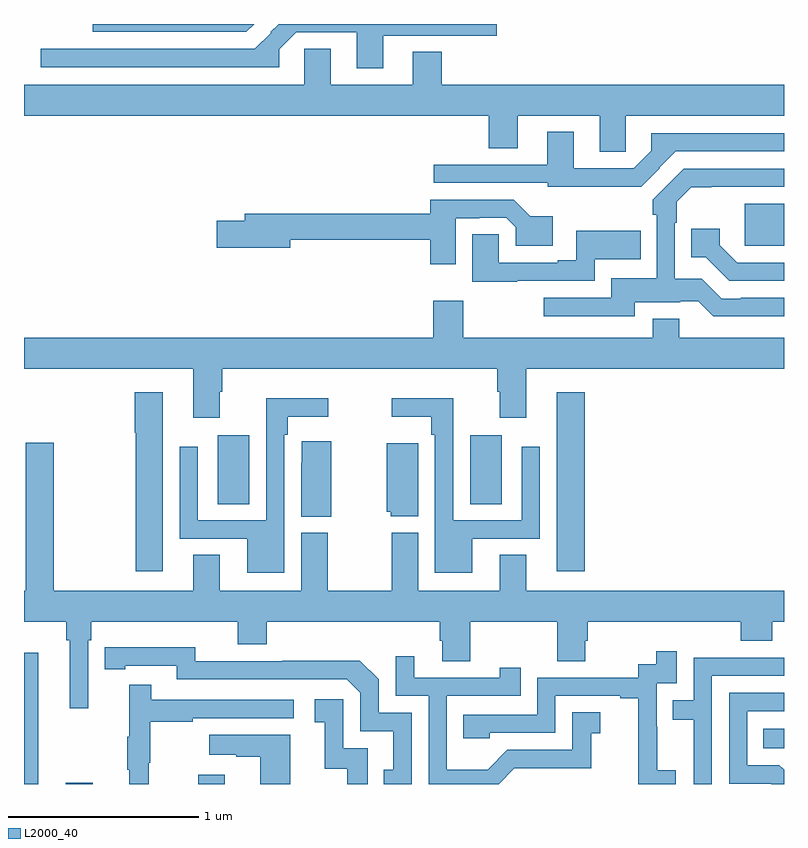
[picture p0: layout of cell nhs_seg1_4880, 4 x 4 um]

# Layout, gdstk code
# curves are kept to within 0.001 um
import gdstk
lib = gdstk.Library(unit=1e-6, precision=1e-09)
def R(c, l, rs):  # rectangles x0, y0, x1, y1
    for r in rs: c.add(gdstk.rectangle(r[:2], r[2:], *l))
def P(c, l, *ps):  # polygons
    for p in ps: c.add(gdstk.Polygon(p, *l))
L2000_40 = (2000, 40)

nhs_seg1_4880 = lib.new_cell('nhs_seg1_4880')
R(nhs_seg1_4880, L2000_40, [(375,564.199,375.076,564.889), (375.221,564.199,375.361,564.205), (375.917,564.199,376.057,564.247), (378.892,564.386,379,564.49), (377.804,565.32,377.951,566.26), (376.019,565.672,376.186,566.035), (377.348,565.672,377.515,566.035), (378.794,567.032,379,567.253)])
P(nhs_seg1_4880, L2000_40, [(376.212,568.199),(375.363,568.199),(375.363,568.158),(376.171,568.158)],
  [(376.891,568.137),(377.488,568.137),(377.488,568.199),(376.34,568.199),(376.297,568.156),(376.3,568.153),(376.215,568.068),(375.087,568.068),(375.087,567.972),(376.344,567.972),(376.344,568.065),(376.434,568.155),(376.751,568.155),(376.751,567.966),(376.891,567.966)],
  [(378.168,567.716),(379,567.716),(379,567.88),(377.198,567.88),(377.198,568.052),(377.045,568.052),(377.045,567.88),(376.615,567.88),(376.615,568.07),(376.476,568.07),(376.476,567.88),(375,567.88),(375,567.716),(377.447,567.716),(377.447,567.544),(377.599,567.544),(377.599,567.716),(378.029,567.716),(378.029,567.526),(378.168,567.526)],
  [(378.347,567.44),(378.344,567.443),(378.429,567.528),(379,567.528),(379,567.624),(378.301,567.624),(378.301,567.532),(378.21,567.441),(377.893,567.441),(377.893,567.631),(377.753,567.631),(377.753,567.459),(377.157,567.459),(377.157,567.363),(377.757,567.363),(377.757,567.343),(378.249,567.343)],
  [(379,566.757),(378.772,566.757),(378.772,566.754),(378.672,566.754),(378.567,566.859),(378.426,566.859),(378.426,567.152),(378.436,567.152),(378.436,567.264),(378.512,567.34),(378.616,567.34),(378.616,567.342),(379,567.342),(379,567.438),(378.473,567.438),(378.31,567.275),(378.31,567.194),(378.33,567.194),(378.33,566.86),(378.092,566.86),(378.092,566.757),(377.736,566.757),(377.736,566.661),(378.214,566.661),(378.214,566.735),(378.455,566.735),(378.455,566.739),(378.549,566.739),(378.628,566.66),(379,566.66)],
  [(377.272,567.177),(377.396,567.177),(377.396,567.18),(377.538,567.18),(377.589,567.129),(377.589,567.032),(377.782,567.032),(377.782,567.187),(377.664,567.187),(377.578,567.273),(377.138,567.273),(377.138,567.2),(376.163,567.2),(376.163,567.164),(376.014,567.164),(376.014,567.022),(376.402,567.022),(376.402,567.064),(377.138,567.064),(377.138,566.934),(377.272,566.934)],
  [(379,566.943),(378.753,566.943),(378.661,567.035),(378.661,567.121),(378.511,567.121),(378.511,566.972),(378.588,566.972),(378.713,566.847),(379,566.847)],
  [(377.596,566.847),(378.003,566.847),(378.003,566.96),(378.245,566.96),(378.245,567.112),(377.907,567.112),(377.907,566.956),(377.81,566.956),(377.81,566.943),(377.499,566.943),(377.499,567.092),(377.36,567.092),(377.36,566.842),(377.596,566.842)],
  [(376.03,566.264),(376.043,566.264),(376.043,566.384),(377.492,566.384),(377.492,566.264),(377.504,566.264),(377.504,566.127),(377.644,566.127),(377.644,566.384),(379,566.384),(379,566.548),(378.448,566.548),(378.448,566.647),(378.308,566.647),(378.308,566.548),(377.313,566.548),(377.313,566.743),(377.153,566.743),(377.153,566.548),(375,566.548),(375,566.384),(375.89,566.384),(375.89,566.127),(376.03,566.127)],
  [(375.73,566.26),(375.584,566.26),(375.584,566.047),(375.589,566.047),(375.589,565.32),(375.73,565.32)],
  [(376.371,566.036),(376.387,566.036),(376.387,566.132),(376.6,566.132),(376.6,566.23),(376.275,566.23),(376.275,565.587),(375.915,565.587),(375.915,565.975),(375.819,565.975),(375.819,565.491),(376.175,565.491),(376.175,565.31),(376.371,565.31)],
  [(377.359,565.491),(377.715,565.491),(377.715,565.975),(377.619,565.975),(377.619,565.587),(377.259,565.587),(377.259,566.23),(376.935,566.23),(376.935,566.132),(377.143,566.132),(377.143,566.036),(377.163,566.036),(377.163,565.31),(377.359,565.31)],
  [(376.617,566.002),(376.461,566.002),(376.461,565.889),(376.46,565.889),(376.46,565.606),(376.617,565.606)],
  [(375.339,564.956),(375.353,564.956),(375.353,565.052),(376.124,565.052),(376.124,564.935),(376.277,564.935),(376.277,565.052),(377.189,565.052),(377.189,564.954),(377.201,564.954),(377.201,564.844),(377.349,564.844),(377.349,565.052),(377.806,565.052),(377.806,564.844),(377.953,564.844),(377.953,564.954),(377.966,564.954),(377.966,565.052),(378.773,565.052),(378.773,564.953),(378.938,564.953),(378.938,565.052),(379,565.052),(379,565.216),(377.644,565.216),(377.644,565.406),(377.504,565.406),(377.504,565.216),(377.074,565.216),(377.074,565.522),(376.936,565.522),(376.936,565.216),(376.599,565.216),(376.599,565.521),(376.46,565.521),(376.46,565.216),(376.03,565.216),(376.03,565.406),(375.89,565.406),(375.89,565.216),(375.156,565.216),(375.156,565.995),(375.008,565.995),(375.008,565.216),(375,565.216),(375,565.052),(375.223,565.052),(375.223,564.956),(375.242,564.956),(375.242,564.597),(375.339,564.597)],
  [(377.074,565.993),(376.91,565.993),(376.91,565.632),(376.929,565.632),(376.929,565.607),(377.074,565.607)],
  [(377.04,564.573),(376.866,564.573),(376.866,564.75),(376.768,564.848),(376.36,564.848),(376.36,564.846),(375.9,564.846),(375.9,564.919),(375.424,564.918),(375.424,564.802),(375.532,564.802),(375.532,564.822),(375.804,564.822),(375.804,564.75),(376.698,564.75),(376.77,564.678),(376.77,564.477),(376.943,564.477),(376.943,564.273),(376.894,564.273),(376.894,564.199),(377.04,564.199)],
  [(378.43,564.271),(378.332,564.271),(378.332,564.5),(378.33,564.5),(378.33,564.729),(378.435,564.729),(378.435,564.898),(378.327,564.898),(378.327,564.828),(378.234,564.828),(378.234,564.759),(377.7,564.759),(377.7,564.564),(377.311,564.564),(377.311,564.441),(377.451,564.441),(377.451,564.468),(377.796,564.468),(377.796,564.663),(378.137,564.663),(378.137,564.651),(378.233,564.651),(378.233,564.367),(378.232,564.367),(378.232,564.199),(378.43,564.199)],
  [(377.581,564.282),(377.985,564.282),(377.985,564.467),(378.034,564.467),(378.034,564.577),(377.886,564.577),(377.886,564.378),(377.544,564.378),(377.44,564.274),(377.226,564.274),(377.226,564.663),(377.615,564.663),(377.615,564.811),(377.504,564.811),(377.504,564.759),(377.053,564.759),(377.053,564.871),(376.956,564.871),(376.956,564.663),(377.13,564.663),(377.13,564.199),(377.498,564.199)],
  [(378.621,564.768),(379,564.768),(379,564.864),(378.525,564.864),(378.525,564.639),(378.415,564.639),(378.415,564.538),(378.525,564.538),(378.525,564.199),(378.621,564.199)],
  [(375.656,564.312),(375.664,564.312),(375.664,564.526),(375.887,564.526),(375.887,564.546),(376.42,564.546),(376.42,564.642),(375.671,564.642),(375.671,564.721),(375.554,564.721),(375.554,564.449),(375.543,564.449),(375.543,564.275),(375.554,564.275),(375.554,564.199),(375.656,564.199)],
  [(379,564.273),(378.976,564.297),(378.807,564.297),(378.807,564.582),(379,564.582),(379,564.678),(378.711,564.678),(378.711,564.201),(378.93,564.201),(378.932,564.199),(379,564.199)],
  [(376.809,564.387),(376.68,564.387),(376.68,564.646),(376.53,564.646),(376.53,564.525),(376.583,564.525),(376.583,564.279),(376.701,564.279),(376.701,564.199),(376.809,564.199)],
  [(376.402,564.457),(375.975,564.457),(375.975,564.353),(376.118,564.353),(376.118,564.343),(376.244,564.343),(376.244,564.199),(376.402,564.199)])

lib.write_gds('nhs_seg1_4880.gds')
